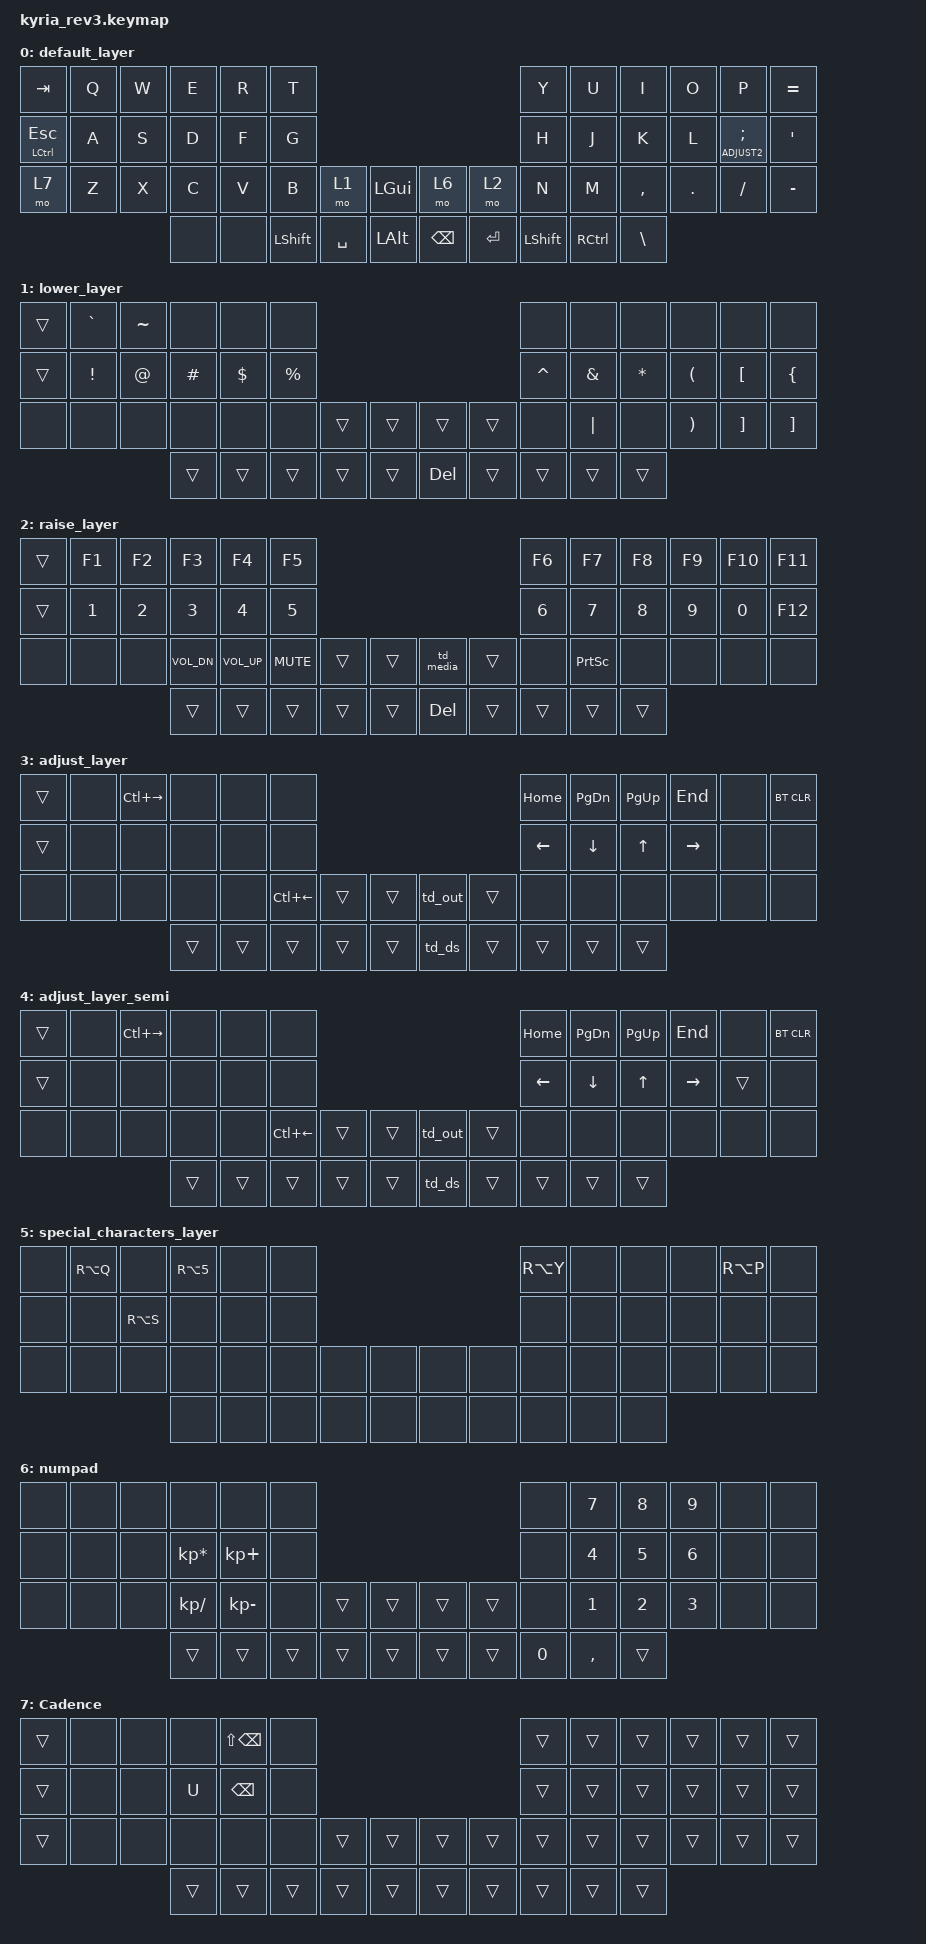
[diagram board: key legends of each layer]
/*
 * Copyright (c) 2023 The ZMK Contributors
 *
 * SPDX-License-Identifier: MIT
 */

#include <dt-bindings/zmk/mouse.h>
#include <behaviors.dtsi>
#include <dt-bindings/zmk/bt.h>
#include <dt-bindings/zmk/keys.h>
#include <dt-bindings/zmk/outputs.h>

// Transparent/None

#define _____ &trans
#define xxxxx &none

// Layers

#define BASE 0
#define LOWER 1
#define RAISE 2
#define ADJUST 3
#define ADJUST2 4
#define SPCHAR 5

&mt { tapping-term-ms = <200>; };

/ {
    // Activate ADJUST layer by pressing raise and lower

    conditional_layers {
        compatible = "zmk,conditional-layers";

        adjust_layer {
            if-layers = <LOWER RAISE>;
            then-layer = <ADJUST>;
        };
    };

    combos {
        compatible = "zmk,combos";

        combo_space {
            bindings = <&kp SPACE>;
            key-positions = <7 8>;
            layers = <0>;
        };

        active_special_characters {
            bindings = <&mo 5>;
            key-positions = <33 46>;
            layers = <0>;
        };
    };

    behaviors {
        hm: homerow_mods {
            compatible = "zmk,behavior-hold-tap";
            #binding-cells = <2>;
            tapping-term-ms = <150>;
            quick-tap-ms = <0>;
            flavor = "tap-preferred";
            bindings = <&kp>, <&kp>;
        };

        td_ds: tap_dance_device_select {
            compatible = "zmk,behavior-tap-dance";
            #binding-cells = <0>;
            tapping-term-ms = <3000>;
            bindings =
                <&bt BT_SEL 0>,
                <&bt BT_SEL 1>,
                <&bt BT_SEL 2>,
                <&bt BT_SEL 3>,
                <&bt BT_SEL 4>;
        };

        td_media: tap_dance_media {
            compatible = "zmk,behavior-tap-dance";
            #binding-cells = <0>;
            tapping-term-ms = <200>;
            bindings = <&kp C_PLAY_PAUSE>, <&kp C_NEXT>, <&kp C_PREV>;
        };

        td_out: tap_dance_output {
            compatible = "zmk,behavior-tap-dance";
            #binding-cells = <0>;
            tapping-term-ms = <200>;
            bindings = <&out OUT_USB>, <&out OUT_BLE>;
        };
    };

    keymap {
        compatible = "zmk,keymap";

        default_layer {
            // ---------------------------------------------------------------------------------------------------------------------------------
            // |  TAB    |  Q  |  W  |  E  |  R   |  T  |                                |  Y  |  U   |   I   |  O  |   P   |  =  |
            // |CTRL(ESC)|  A  |  S  |  D  |  F   |  G  |                                |  H  |  J   |   K   |  L  | L3(;) |  '  |
            // |_________|  Z  |  X  |  C  |  V   |  B  | LOWER | CTRL |  |  \   | RAISE |  N  |  M   |   ,   |  .  |   /   |  -  |
            //                       |_____| LALT |_____| SPACE | GUI  |  | BSPC |  RET  |_____| RALT | PSCRN |

            bindings = <
&kp TAB        &kp Q  &kp W  &kp E  &kp R  &kp T                                                     &kp Y       &kp U      &kp I      &kp O    &kp P             &kp EQUAL
&mt LCTRL ESC  &kp A  &kp S  &kp D  &kp F  &kp G                                                     &kp H       &kp J      &kp K      &kp L    &lt ADJUST2 SEMI  &kp SQT
&mo 7          &kp Z  &kp X  &kp C  &kp V  &kp B      &mo 1      &kp LGUI  &mo 6          &mo 2      &kp N       &kp M      &kp COMMA  &kp DOT  &kp FSLH          &kp MINUS
                             &none  &none  &kp LSHFT  &kp SPACE  &kp LALT  &kp BACKSPACE  &kp ENTER  &kp LSHIFT  &kp RCTRL  &kp BSLH
            >;
        };

        lower_layer {
            bindings = <
&trans  &kp GRAVE  &kp TILDE  &none     &none     &none                                          &none      &none     &none     &none     &none     &none
&trans  &kp EXCL   &kp AT     &kp HASH  &kp DLLR  &kp PRCNT                                      &kp CARET  &kp AMPS  &kp STAR  &kp LPAR  &kp LBKT  &kp LBRC
&none   &none      &none      &none     &none     &none      &trans  &trans  &trans      &trans  &none      &kp PIPE  &none     &kp RPAR  &kp RBKT  &kp RBKT
                              &trans    &trans    &trans     &trans  &trans  &kp DELETE  &trans  &trans     &trans    &trans
            >;
        };

        raise_layer {
            bindings = <
&trans  &kp F1  &kp F2  &kp F3        &kp F4        &kp F5                                          &kp F6  &kp F7     &kp F8  &kp F9  &kp F10  &kp F11
&trans  &kp N1  &kp N2  &kp N3        &kp N4        &kp N5                                          &kp N6  &kp N7     &kp N8  &kp N9  &kp N0   &kp F12
&none   &none   &none   &kp C_VOL_DN  &kp C_VOL_UP  &kp K_MUTE  &trans  &trans  &td_media   &trans  &none   &kp PSCRN  &none   &none   &none    &none
                        &trans        &trans        &trans      &trans  &trans  &kp DELETE  &trans  &trans  &trans     &trans
            >;
        };

        adjust_layer {
            bindings = <
&trans  &none  &kp LC(RIGHT)  &none   &none   &none                                          &kp HOME  &kp PG_DN  &kp PG_UP  &kp END    &none  &bt BT_CLR
&trans  &none  &none          &none   &none   &none                                          &kp LEFT  &kp DOWN   &kp UP     &kp RIGHT  &none  &none
&none   &none  &none          &none   &none   &kp LC(LEFT)  &trans  &trans  &td_out  &trans  &none     &none      &none      &none      &none  &none
                              &trans  &trans  &trans        &trans  &trans  &td_ds   &trans  &trans    &trans     &trans
            >;
        };

        adjust_layer_semi {
            bindings = <
&trans  &none  &kp LC(RIGHT)  &none   &none   &none                                          &kp HOME  &kp PG_DN  &kp PG_UP  &kp END    &none   &bt BT_CLR
&trans  &none  &none          &none   &none   &none                                          &kp LEFT  &kp DOWN   &kp UP     &kp RIGHT  &trans  &none
&none   &none  &none          &none   &none   &kp LC(LEFT)  &trans  &trans  &td_out  &trans  &none     &none      &none      &none      &none   &none
                              &trans  &trans  &trans        &trans  &trans  &td_ds   &trans  &trans    &trans     &trans
            >;
        };

        special_characters_layer {
            bindings = <
&none  &kp RA(Q)  &none      &kp RA(NUMBER_5)  &none  &none                              &kp RA(Y)  &none  &none  &none  &kp RA(P)  &none
&none  &none      &kp RA(S)  &none             &none  &none                              &none      &none  &none  &none  &none      &none
&none  &none      &none      &none             &none  &none  &none  &none  &none  &none  &none      &none  &none  &none  &none      &none
                             &none             &none  &none  &none  &none  &none  &none  &none      &none  &none
            >;
        };

        numpad {
            bindings = <
&none  &none  &none  &none            &none         &none                                   &none   &kp N7     &kp N8  &kp N9  &none  &none
&none  &none  &none  &kp KP_MULTIPLY  &kp KP_PLUS   &none                                   &none   &kp N4     &kp N5  &kp N6  &none  &none
&none  &none  &none  &kp KP_DIVIDE    &kp KP_MINUS  &none   &trans  &trans  &trans  &trans  &none   &kp N1     &kp N2  &kp N3  &none  &none
                     &trans           &trans        &trans  &trans  &trans  &trans  &trans  &kp N0  &kp COMMA  &trans
            >;
        };

        Cadence {
            bindings = <
&trans  &none  &none  &none   &kp LS(BACKSPACE)  &none                                   &trans  &trans  &trans  &trans  &trans  &trans
&trans  &none  &none  &kp U   &kp BACKSPACE      &none                                   &trans  &trans  &trans  &trans  &trans  &trans
&trans  &none  &none  &none   &none              &none   &trans  &trans  &trans  &trans  &trans  &trans  &trans  &trans  &trans  &trans
                      &trans  &trans             &trans  &trans  &trans  &trans  &trans  &trans  &trans  &trans
            >;
        };
    };
};
